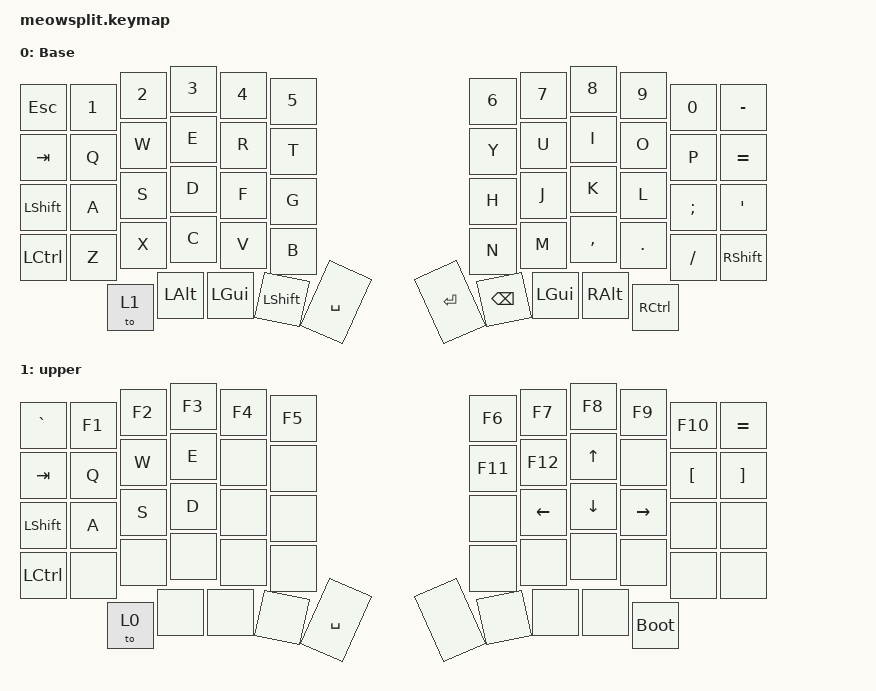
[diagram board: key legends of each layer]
#include <behaviors.dtsi>
#include <dt-bindings/zmk/keys.h>

/ {
    keymap {
        compatible = "zmk,keymap";

        default_layer {
            display-name = "Base";
            bindings = <
&kp ESC         &kp NUMBER_1  &kp NUMBER_2  &kp N3    &kp N4    &kp N5                                &kp N6         &kp N7    &kp N8     &kp N9     &kp N0    &kp MINUS
&kp TAB         &kp Q         &kp W         &kp E     &kp R     &kp T                                 &kp Y          &kp U     &kp I      &kp O      &kp P     &kp EQUAL
&kp LEFT_SHIFT  &kp A         &kp S         &kp D     &kp F     &kp G                                 &kp H          &kp J     &kp K      &kp L      &kp SEMI  &kp APOS
&kp LCTRL       &kp Z         &kp X         &kp C     &kp V     &kp B                                 &kp N          &kp M     &kp COMMA  &kp DOT    &kp FSLH  &kp RSHFT
                              &to 1         &kp LALT  &kp LGUI  &kp LEFT_SHIFT  &kp SPACE  &kp ENTER  &kp BACKSPACE  &kp LGUI  &kp RALT   &kp RCTRL
            >;
        };

        upper {
            bindings = <
&kp GRAVE       &kp F1  &kp F2  &kp F3  &kp F4  &kp F5                    &kp F6   &kp F7    &kp F8    &kp F9       &kp F10           &kp EQUAL
&kp TAB         &kp Q   &kp W   &kp E   &none   &none                     &kp F11  &kp F12   &kp UP    &none        &kp LEFT_BRACKET  &kp RIGHT_BRACKET
&kp LEFT_SHIFT  &kp A   &kp S   &kp D   &none   &none                     &none    &kp LEFT  &kp DOWN  &kp RIGHT    &none             &none
&kp LCTRL       &none   &none   &none   &none   &none                     &none    &none     &none     &none        &none             &none
                        &to 0   &none   &none   &none   &kp SPACE  &none  &none    &none     &none     &bootloader
            >;
        };
    };
};
